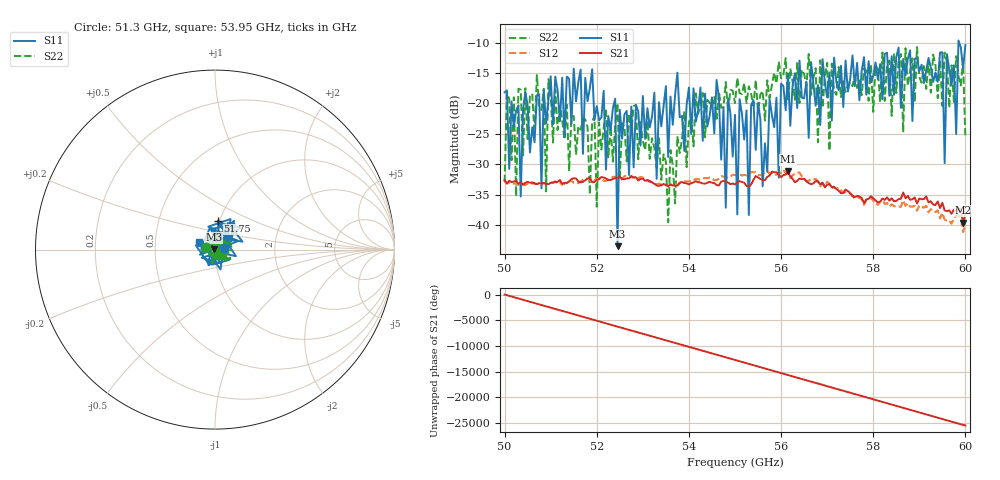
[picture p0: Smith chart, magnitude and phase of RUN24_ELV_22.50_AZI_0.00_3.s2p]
! 11/24/2026 9:50:10 AM
! C:\ANRITSUVNA\TEMP\TEMP.S2P
! CHANNEL.1
! TR.MEASUREMENT
! RAW.DATA
# HZ S RI R 50.0
! FREQ.HZ  S11RE  S11IM  S21RE  S21IM  S12RE  S12IM  S22RE  S22IM
!; PortSelection: Port_12
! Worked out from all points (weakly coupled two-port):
!   201 points, 50 GHz to 60 GHz, reference 50 ohm
!   highest |S21| = -31.20 dB at 56.15 GHz (marker M1); lowest = -39.6 dB at 59.95 GHz (marker M2)
!   lowest |S11| = -43.5 dB at 52.45 GHz (marker M3), VSWR 1.01, Z = 49.3 + j0.0602 ohm
!   |S11| at or under -10 dB: start of sweep to 59.85 GHz; 59.86537 GHz to end of sweep
!   |S22| runs from -39.6 to -10.8 dB; largest |S21 - S12| = 0.043
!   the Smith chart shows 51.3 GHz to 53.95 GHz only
!   S11 on the Smith chart (normalised r, x): 51.3 GHz: 1.11, +0.01; 51.75 GHz: 0.98, +0.32; 53.95 GHz: 0.84, +0.07
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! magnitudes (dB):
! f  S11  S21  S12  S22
! 50 GHz  -18.2  -32.7  -32.8  -32.9
! 50.35 GHz  -35.3  -33.0  -33.2  -17.8
! 50.45 GHz  -18.2  -33.1  -33.4  -17.5
! 51.3 GHz  -25.5  -33.0  -33.2  -25.9
! 51.7 GHz  -28.3  -32.9  -32.6  -22.6
! 51.75 GHz  -15.8  -32.6  -32.3  -22.6
! 52.4 GHz  -19.2  -32.3  -32.1  -23.6
! 52.45 GHz  -43.5  -32.2  -32.4  -20.0
! 52.5 GHz  -21.1  -32.0  -32.5  -32.2
! 53.35 GHz  -19.8  -33.6  -33.2  -25.8
! 53.95 GHz  -20.3  -33.2  -32.8  -30.5
! 54.6 GHz  -16.2  -33.4  -32.6  -22.5
! 54.8 GHz  -37.2  -32.9  -32.2  -16.5
! 55 GHz  -21.9  -33.3  -31.8  -20.0
! 55.3 GHz  -38.4  -33.7  -31.6  -17.2
! 55.35 GHz  -20.3  -33.4  -31.3  -18.4
! 55.95 GHz  -32.2  -31.7  -31.5  -13.1
! 56.15 GHz  -15.1  -31.2  -31.5  -19.6
! 56.7 GHz  -16.7  -33.2  -32.5  -15.9
! 58.35 GHz  -18.8  -36.0  -37.0  -13.0
! 59.95 GHz  -14.3  -39.6  -41.2  -13.0
! 60 GHz  -10.4  -38.3  -40.0  -25.8
